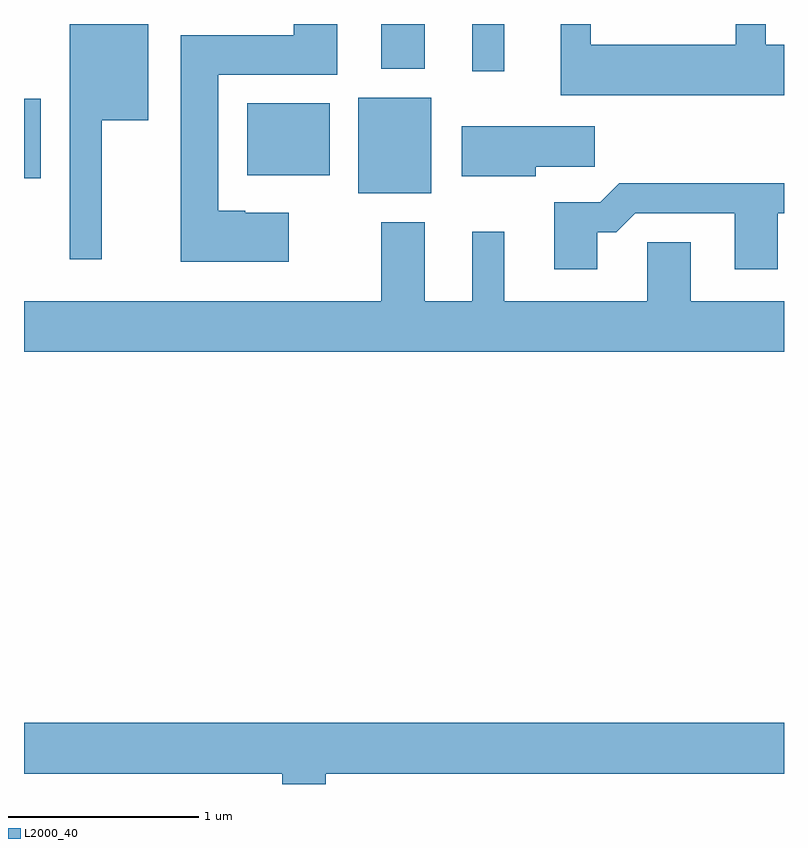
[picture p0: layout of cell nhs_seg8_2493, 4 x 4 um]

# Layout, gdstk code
import gdstk
lib = gdstk.Library(unit=1e-6, precision=1e-09)
def R(c, l, rs):  # rectangles x0, y0, x1, y1
    for r in rs: c.add(gdstk.rectangle(r[:2], r[2:], *l))
def P(c, l, *ps):  # polygons
    for p in ps: c.add(gdstk.Polygon(p, *l))
L2000_40 = (2000, 40)

nhs_seg8_2493 = lib.new_cell('nhs_seg8_2493')
R(nhs_seg8_2493, L2000_40, [(261.371,1859.451,261.754,1859.954), (259.611,1859.531,259.699,1859.949), (260.786,1859.546,261.219,1859.924), (261.971,1860.093,262.139,1860.342), (261.491,1860.106,261.719,1860.342)])
P(nhs_seg8_2493, L2000_40, [(263.611,1860.234),(263.514,1860.234),(263.514,1860.342),(263.356,1860.342),(263.356,1860.234),(262.594,1860.234),(262.594,1860.342),(262.436,1860.342),(262.436,1859.966),(263.611,1859.966)],
  [(261.004,1859.349),(260.775,1859.349),(260.775,1859.359),(260.634,1859.359),(260.634,1860.076),(261.259,1860.076),(261.259,1860.342),(261.031,1860.342),(261.031,1860.284),(260.436,1860.284),(260.436,1859.091),(261.004,1859.091)],
  [(260.019,1859.836),(260.264,1859.836),(260.264,1860.342),(259.851,1860.342),(259.851,1859.103),(260.019,1859.103)],
  [(262.304,1859.591),(262.614,1859.591),(262.614,1859.804),(261.916,1859.804),(261.916,1859.541),(262.304,1859.541)],
  [(262.629,1859.246),(262.727,1859.246),(262.827,1859.346),(263.351,1859.346),(263.351,1859.051),(263.579,1859.051),(263.579,1859.346),(263.611,1859.346),(263.611,1859.504),(262.744,1859.504),(262.644,1859.404),(262.401,1859.404),(262.401,1859.051),(262.629,1859.051)],
  [(263.611,1858.884),(263.119,1858.884),(263.119,1859.194),(262.891,1859.194),(262.891,1858.884),(262.139,1858.884),(262.139,1859.248),(261.971,1859.248),(261.971,1858.884),(261.719,1858.884),(261.719,1859.299),(261.491,1859.299),(261.491,1858.884),(259.611,1858.884),(259.611,1858.616),(263.611,1858.616)],
  [(261.199,1856.396),(263.611,1856.396),(263.611,1856.664),(259.611,1856.664),(259.611,1856.396),(260.971,1856.396),(260.971,1856.342),(261.199,1856.342)])

lib.write_gds('nhs_seg8_2493.gds')
